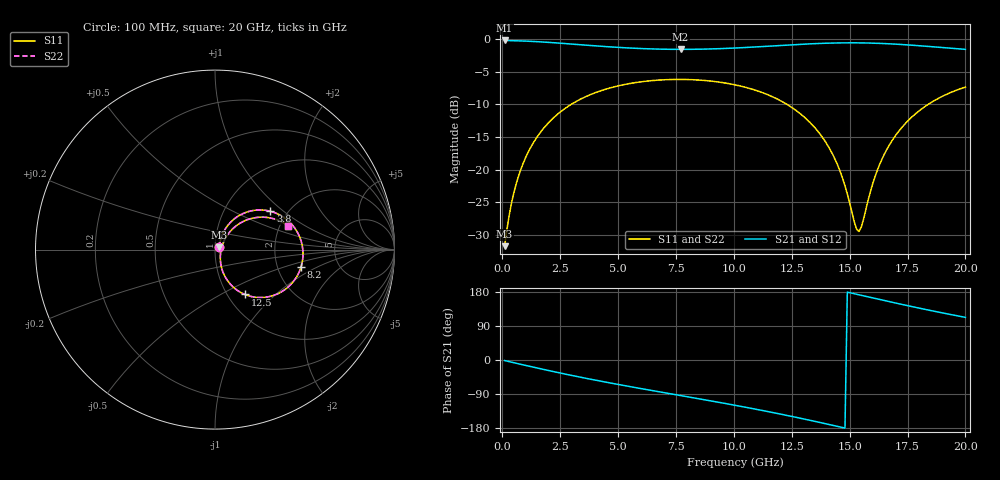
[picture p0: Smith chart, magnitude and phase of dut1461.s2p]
! Touchstone file exported from HFSS 2026.1.0
!  File:  C:/ffzhzh/LocalFiles/Ansys_Project_Files/temp_train_TSV_RDL_1461_1783360303_46376.aedt
!  Generated:  02:00:50 AM Jul  7, 2026
!  Design:  TSV_RDL
!  Project:  temp_train_TSV_RDL_1461_1783360303_46376
! Variables:
!  h_bsmrdl = 5.11um
!  h_ox = 20um
!  h_rdl = 5um
!  h_sub = 55.89um
!  h_tmrdl = 5.7um
!  h_tsv = 55.89um
!  h_via = 3um
!  l_bsmrdl = 946.63um
!  l_sub = 4250.67um
!  l_tmrdl = 222.77um
!  m_sub = 200um
!  pitch = 34.7um
!  r_tsv = 3.12um
!  s_tmrdl = 10um
!  w_bsmrdl = 13um
!  w_sub = 500um
!  w_tmrdl = 26.9um
!  x_tsv_center1 = 236.22um
!  x_tsv_center2 = 1195.85um
!  x_tsv_center3 = 1445.52um
!  x_tsv_center4 = 2405.15um
!  x_tsv_center5 = 2654.82um
!  x_tsv_center6 = 3614.45um
# GHz S MA R 50.000000
! Terminal data exported
! Port[1] = TM_RDL1_1_T1
! Port[2] = TM_RDL5_1_T1
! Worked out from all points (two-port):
!   200 points, 100 MHz to 20 GHz, reference 50 ohm
!   highest |S21| = -0.20 dB at 100 MHz (marker M1); lowest = -1.6 dB at 7.7 GHz (marker M2)
!   |S21| within 3 dB of the highest: start of sweep to end of sweep
!   lowest |S11| = -31.7 dB at 100 MHz (marker M3), VSWR 1.05, Z = 52.3 + j1.33 ohm
!   |S11| at or under -10 dB: start of sweep to 2.976 GHz; 12.3 GHz to 18.39 GHz (6.096 GHz wide, 39.7 % of centre)
!   |S22| runs from -31.7 to -6.2 dB; largest |S21 - S12| = 1.6e-14
!   S11 on the Smith chart (normalised r, x): 100 MHz: 1.05, +0.03; 3.8 GHz: 1.64, +0.82; 8.2 GHz: 2.71, -0.69; 12.5 GHz: 1.20, -0.66; 20 GHz: 2.22, +0.72
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0.1  0.02586 29.4  0.9777 -1.5  0.9777 -1.5  0.02586 29.4
! Gamma 0 0 0 0
! Port Impedance 50 0 50 0
0.3  0.04483 53.7  0.9755 -4.4  0.9755 -4.4  0.04483 53.7
0.5  0.0665 61.1  0.9734 -7.2  0.9734 -7.2  0.0665 61.1
1.2  0.1449 62.6  0.9634 -17.0  0.9634 -17.0  0.1449 62.6
2.2  0.2483 52.9  0.9401 -30.5  0.9401 -30.5  0.2483 52.9
3.5  0.3554 38.1  0.903 -47.0  0.903 -47.0  0.3554 38.1
3.8  0.3753 34.7  0.8946 -50.6  0.8946 -50.6  0.3753 34.7
5.2  0.4462 19.4  0.8609 -66.7  0.8609 -66.7  0.4462 19.4
6.8  0.4863 2.8  0.8388 -84.2  0.8388 -84.2  0.4863 2.8
7.7  0.4915 -6.3  0.8353 -93.8  0.8353 -93.8  0.4915 -6.3
8.2  0.4891 -11.4  0.8362 -99.2  0.8362 -99.2  0.4891 -11.4
10.1  0.4446 -30.9  0.8562 -120.0  0.8562 -120.0  0.4446 -30.9
12.5  0.2998 -56.4  0.9055 -148.8  0.9055 -148.8  0.2998 -56.4
13.4  0.2191 -65.3  0.9228 -160.6  0.9228 -160.6  0.2191 -65.3
14.4  0.1169 -70.5  0.9353 -174.1  0.9353 -174.1  0.1169 -70.5
14.8  0.07511 -66.0  0.9375 -179.6  0.9375 -179.6  0.07514 -66.0
15.3  0.03496 -25.7  0.9375 173.5  0.9375 173.5  0.03498 -25.8
15.4  0.03354 -7.8  0.9372 172.1  0.9372 172.1  0.03355 -7.9
16.1  0.08855 48.0  0.9313 162.4  0.9313 162.4  0.08853 48.0
16.7  0.1527 49.6  0.9219 154.2  0.9219 154.2  0.1526 49.6
18.1  0.291 37.9  0.8884 135.6  0.8884 135.6  0.291 37.9
20  0.4292 17.9  0.8354 112.5  0.8354 112.5  0.4292 17.9
